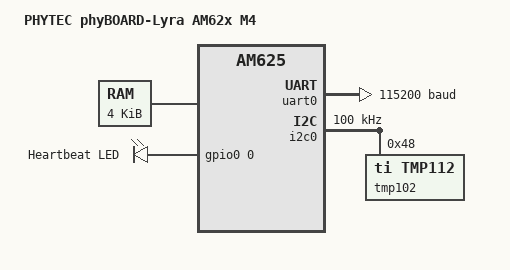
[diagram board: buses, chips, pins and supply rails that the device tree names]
/*
 * Copyright (C) 2023 PHYTEC Messtechnik GmbH
 * Author: Daniel Schultz <d.schultz@phytec.de>
 *
 * SPDX-License-Identifier: Apache-2.0
 */

/dts-v1/;

#include <ti/am62x_m4.dtsi>
#include "phyboard_lyra_am6234_m4-pinctrl.dtsi"

/ {
	model = "PHYTEC phyBOARD-Lyra AM62x M4";
	compatible = "phytec,phyboard-lyra-am62xx-m4", "ti,am625";

	chosen {
		zephyr,sram = &sram0;
		zephyr,console = &uart0;
		zephyr,shell-uart = &uart0;
		zephyr,sram1 = &ddr0;
	};

	aliases {
		led0 = &heartbeat_led;
	};

	cpus {
		cpu@0 {
			status = "okay";
			clock-frequency = <400000000>;
		};
	};

	ddr0:memory@9CC00000{
		compatible = "zephyr,memory-region", "mmio-sram";
		reg = <0x9CC00000 DT_SIZE_K(4)>;
		zephyr,memory-region = "DDR";
	};

	leds: leds {
		compatible = "gpio-leds";
		heartbeat_led: led_0 {
			gpios = <&gpio0 0 GPIO_ACTIVE_HIGH>;
			label = "Heartbeat LED";
		};
	};
};

&uart0 {
	current-speed = <115200>;
	pinctrl-0 = <&mcu_uart0_rx_default &mcu_uart0_tx_default>;
	pinctrl-names = "default";
	status = "okay";
};

&i2c0 {
	pinctrl-0 = <&mcu_i2c0_sda_default &mcu_i2c0_scl_default>;
	pinctrl-names = "default";
	clock-frequency = <I2C_BITRATE_STANDARD>;
	status = "okay";

	tmp102@48 {
		compatible = "ti,tmp112";
		reg = <0x48>;
		status = "okay";
	};
};

&gpio0 {
	pinctrl-0 = <&mcu_gpio0_led_default>;
	pinctrl-names = "default";
	status = "okay";
};
